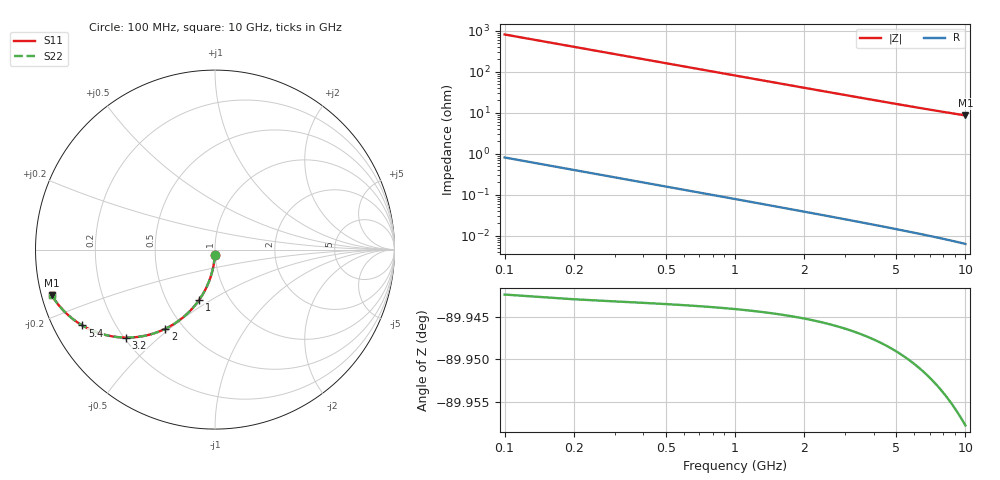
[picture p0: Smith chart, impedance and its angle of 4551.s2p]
# Hz S RI R 50.00
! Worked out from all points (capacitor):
!   100 points, 100 MHz to 10 GHz, reference 50 ohm
!   read as one part in shunt: C = 1.97 pF near 100 MHz
!   lowest |Z| = 8.62 ohm at 10 GHz (marker M1)
!   S11 on the Smith chart (normalised r, x): 100 MHz: 1.00, -0.06; 1 GHz: 0.73, -0.44; 2 GHz: 0.40, -0.48; 3.2 GHz: 0.21, -0.40; 5.4 GHz: 0.09, -0.26; 10 GHz: 0.03, -0.14
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1e8  -0.00091 -0.0306  0.9989 -0.0312  0.9989 -0.0312  -0.00091 -0.0306
2e8  -0.0038 -0.0611  0.996 -0.0622  0.996 -0.0622  -0.0038 -0.0611
3e8  -0.00855 -0.0911  0.9913 -0.0929  0.9913 -0.0929  -0.00855 -0.0911
4e8  -0.0151 -0.1207  0.9847 -0.123  0.9847 -0.123  -0.0151 -0.1207
5e8  -0.0234 -0.1496  0.9764 -0.1524  0.9764 -0.1524  -0.0234 -0.1496
6e8  -0.0334 -0.1777  0.9664 -0.1811  0.9664 -0.1811  -0.0334 -0.1777
7e8  -0.0449 -0.2048  0.9549 -0.2088  0.9549 -0.2088  -0.0449 -0.2048
8e8  -0.0578 -0.2308  0.942 -0.2354  0.942 -0.2354  -0.0578 -0.2308
1e9  -0.0875 -0.2793  0.9123 -0.2851  0.9123 -0.2851  -0.0875 -0.2793
1.2e9  -0.1213 -0.3227  0.8785 -0.3296  0.8785 -0.3296  -0.1213 -0.3227
1.4e9  -0.1582 -0.3605  0.8416 -0.3685  0.8416 -0.3685  -0.1582 -0.3605
1.8e9  -0.2371 -0.4197  0.7627 -0.43  0.7627 -0.43  -0.2371 -0.4197
2e9  -0.2773 -0.4415  0.7225 -0.453  0.7225 -0.453  -0.2773 -0.4415
2.6e9  -0.3936 -0.4806  0.6061 -0.4956  0.6061 -0.4956  -0.3936 -0.4806
3.2e9  -0.4961 -0.4902  0.5036 -0.5087  0.5036 -0.5087  -0.4961 -0.4902
3.4e9  -0.5265 -0.4889  0.4731 -0.5086  0.4731 -0.5086  -0.5265 -0.4889
4.2e9  -0.6298 -0.4701  0.3697 -0.4945  0.3697 -0.4945  -0.6298 -0.4701
5.1e9  -0.7157 -0.4355  0.2836 -0.4653  0.2836 -0.4653  -0.7157 -0.4355
5.4e9  -0.7387 -0.4228  0.2606 -0.4545  0.2606 -0.4545  -0.7387 -0.4228
6.7e9  -0.8142 -0.3682  0.1848 -0.4079  0.1848 -0.4079  -0.8142 -0.3682
8.4e9  -0.8744 -0.3048  0.1241 -0.3552  0.1241 -0.3552  -0.8744 -0.3048
1e10  -0.9089 -0.2552  0.089 -0.3162  0.089 -0.3162  -0.9089 -0.2552
